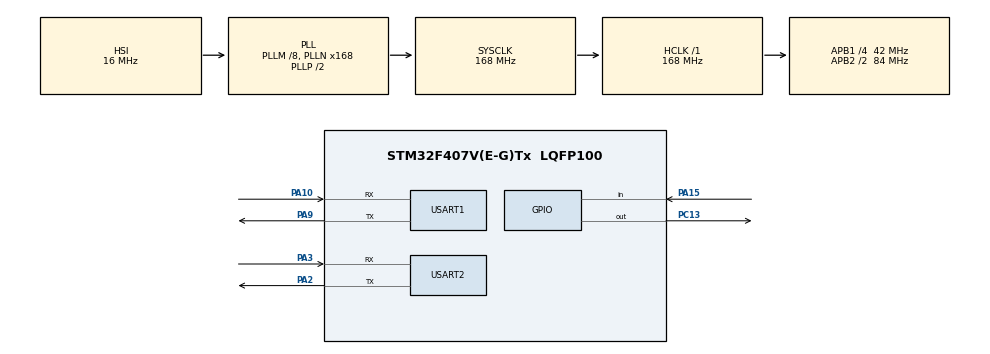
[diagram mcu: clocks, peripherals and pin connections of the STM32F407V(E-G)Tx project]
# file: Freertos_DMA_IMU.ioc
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Dma.Request0=USART1_RX
Dma.Request1=USART1_TX
Dma.Request2=USART2_RX
Dma.USART1_RX.0.Direction=DMA_PERIPH_TO_MEMORY
Dma.USART1_RX.0.FIFOMode=DMA_FIFOMODE_DISABLE
Dma.USART1_RX.0.Instance=DMA2_Stream2
Dma.USART1_RX.0.MemDataAlignment=DMA_MDATAALIGN_BYTE
Dma.USART1_RX.0.MemInc=DMA_MINC_ENABLE
Dma.USART1_RX.0.Mode=DMA_NORMAL
Dma.USART1_RX.0.PeriphDataAlignment=DMA_PDATAALIGN_BYTE
Dma.USART1_RX.0.PeriphInc=DMA_PINC_DISABLE
Dma.USART1_RX.0.Priority=DMA_PRIORITY_MEDIUM
Dma.USART1_TX.1.Direction=DMA_MEMORY_TO_PERIPH
Dma.USART1_TX.1.FIFOMode=DMA_FIFOMODE_DISABLE
Dma.USART1_TX.1.Instance=DMA2_Stream7
Dma.USART1_TX.1.MemDataAlignment=DMA_MDATAALIGN_BYTE
Dma.USART1_TX.1.MemInc=DMA_MINC_ENABLE
Dma.USART1_TX.1.Mode=DMA_NORMAL
Dma.USART1_TX.1.PeriphDataAlignment=DMA_PDATAALIGN_BYTE
Dma.USART1_TX.1.PeriphInc=DMA_PINC_DISABLE
Dma.USART1_TX.1.Priority=DMA_PRIORITY_MEDIUM
Dma.USART2_RX.2.Direction=DMA_PERIPH_TO_MEMORY
Dma.USART2_RX.2.FIFOMode=DMA_FIFOMODE_DISABLE
Dma.USART2_RX.2.Instance=DMA1_Stream5
Dma.USART2_RX.2.MemDataAlignment=DMA_MDATAALIGN_BYTE
Dma.USART2_RX.2.MemInc=DMA_MINC_ENABLE
Dma.USART2_RX.2.Mode=DMA_NORMAL
Dma.USART2_RX.2.PeriphDataAlignment=DMA_PDATAALIGN_BYTE
Dma.USART2_RX.2.PeriphInc=DMA_PINC_DISABLE
Dma.USART2_RX.2.Priority=DMA_PRIORITY_MEDIUM
FREERTOS.Tasks01=defaultTask,-3,128,StartDefaultTask,Default,NULL,Dynamic,NULL,NULL;myTask_key,1,128,key_Task,Default,NULL,Dynamic,NULL,NULL;myTask_led,-3,128,led_Task,Default,NULL,Dynamic,NULL,NULL;myTask_IMU,1,128,IMU_Task,Default,NULL,Dynamic,NULL,NULL;myTask_debug,-2,128,deubg_Task,Default,NULL,Dynamic,NULL,NULL
Mcu.Family=STM32F4
Mcu.Name=STM32F407V(E-G)Tx
Mcu.Package=LQFP100
NVIC.DMA1_Stream5_IRQn=true\:5\:0\:true\:false\:true\:true\:false\:true
NVIC.DMA2_Stream2_IRQn=true\:5\:0\:false\:false\:true\:true\:false\:true
NVIC.DMA2_Stream7_IRQn=true\:5\:0\:false\:false\:true\:true\:false\:true
NVIC.PriorityGroup=NVIC_PRIORITYGROUP_4
NVIC.TIM7_IRQn=true\:0\:0\:false\:false\:true\:false\:false\:true
NVIC.TimeBase=TIM7_IRQn
NVIC.TimeBaseIP=TIM7
NVIC.USART1_IRQn=true\:5\:0\:true\:false\:true\:true\:true\:true
NVIC.USART2_IRQn=true\:5\:0\:true\:false\:true\:true\:true\:true
PA10.Mode=Asynchronous
PA10.Signal=USART1_RX
PA13.Mode=Serial_Wire
PA13.Signal=SYS_JTMS-SWDIO
PA14.Mode=Serial_Wire
PA14.Signal=SYS_JTCK-SWCLK
PA15.GPIO_PuPd=GPIO_PULLUP
PA15.Signal=GPIO_Input
PA2.Mode=Asynchronous
PA2.Signal=USART2_TX
PA3.Mode=Asynchronous
PA3.Signal=USART2_RX
PA9.Mode=Asynchronous
PA9.Signal=USART1_TX
PC13-ANTI_TAMP.GPIO_Speed=GPIO_SPEED_FREQ_LOW
PC13-ANTI_TAMP.Signal=GPIO_Output
PH0-OSC_IN.Mode=HSE-External-Oscillator
PH0-OSC_IN.Signal=RCC_OSC_IN
PH1-OSC_OUT.Mode=HSE-External-Oscillator
PH1-OSC_OUT.Signal=RCC_OSC_OUT
ProjectManager.HeapSize=0x200
ProjectManager.StackSize=0x400
ProjectManager.TargetToolchain=MDK-ARM V5.27
RCC.48MHZClocksFreq_Value=84000000
RCC.AHBFreq_Value=168000000
RCC.APB1CLKDivider=RCC_HCLK_DIV4
RCC.APB1Freq_Value=42000000
RCC.APB1TimFreq_Value=84000000
RCC.APB2CLKDivider=RCC_HCLK_DIV2
RCC.APB2Freq_Value=84000000
RCC.APB2TimFreq_Value=168000000
RCC.CortexFreq_Value=168000000
RCC.HCLKFreq_Value=168000000
RCC.HSE_VALUE=8000000
RCC.HSI_VALUE=16000000
RCC.LSE_VALUE=32768
RCC.PLLM=8
RCC.PLLN=168
RCC.SYSCLKFreq_VALUE=168000000
RCC.SYSCLKSource=RCC_SYSCLKSOURCE_PLLCLK
RCC.VCOOutputFreq_Value=336000000
USART1.VirtualMode=VM_ASYNC
USART2.VirtualMode=VM_ASYNC
VP_FREERTOS_VS_CMSIS_V1.Mode=CMSIS_V1
VP_SYS_VS_tim7.Mode=TIM7
board=custom

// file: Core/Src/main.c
/* USER CODE BEGIN Header */
/**
  ******************************************************************************
  * @file           : main.c
  * @brief          : Main program body
  ******************************************************************************
  * @attention
  *
  * <h2><center>&copy; Copyright (c) 2023 STMicroelectronics.
  * All rights reserved.</center></h2>
  *
  * This software component is licensed by ST under Ultimate Liberty license
  * SLA0044, the "License"; You may not use this file except in compliance with
  * the License. You may obtain a copy of the License at:
  *                             www.st.com/SLA0044
  *
  ******************************************************************************
  */
/* USER CODE END Header */
#include "main.h"
#include "cmsis_os.h"
#include "dma.h"
#include "usart.h"
#include "gpio.h"

/* USER CODE BEGIN Includes */
#include "JY61.h"
/* USER CODE END Includes */

/* USER CODE BEGIN PV */
extern uint8_t IMU_date[100];
/* USER CODE END PV */

void SystemClock_Config(void);
void MX_FREERTOS_Init(void);

int main(void)
{

  /* MCU Configuration--------------------------------------------------------*/

  /* Reset of all peripherals, Initializes the Flash interface and the Systick. */
  HAL_Init();

  /* Configure the system clock */
  SystemClock_Config();

  /* Initialize all configured peripherals */
  MX_GPIO_Init();
  MX_DMA_Init();
  MX_USART1_UART_Init();
  MX_USART2_UART_Init();
  /* USER CODE BEGIN 2 */
    printf("BSP初始化成功!\n\n");
    WitInit(WIT_PROTOCOL_NORMAL, 0x50);
	WitSerialWriteRegister(SensorUartSend);
	WitRegisterCallBack(SensorDataUpdata);
	WitDelayMsRegister(Delayms);
    HAL_UART_Receive_DMA(&huart2,IMU_date,100);

  /* USER CODE END 2 */

  /* Call init function for freertos objects (in freertos.c) */
  MX_FREERTOS_Init();
  /* Start scheduler */
  osKernelStart();

  /* We should never get here as control is now taken by the scheduler */
  /* Infinite loop */
  while (1)
  {

  }
}

void SystemClock_Config(void)
{
  RCC_OscInitTypeDef RCC_OscInitStruct = {0};
  RCC_ClkInitTypeDef RCC_ClkInitStruct = {0};

  /** Configure the main internal regulator output voltage
  */
  __HAL_RCC_PWR_CLK_ENABLE();
  __HAL_PWR_VOLTAGESCALING_CONFIG(PWR_REGULATOR_VOLTAGE_SCALE1);
  /** Initializes the RCC Oscillators according to the specified parameters
  * in the RCC_OscInitTypeDef structure.
  */
  RCC_OscInitStruct.OscillatorType = RCC_OSCILLATORTYPE_HSI;
  RCC_OscInitStruct.HSIState = RCC_HSI_ON;
  RCC_OscInitStruct.HSICalibrationValue = RCC_HSICALIBRATION_DEFAULT;
  RCC_OscInitStruct.PLL.PLLState = RCC_PLL_ON;
  RCC_OscInitStruct.PLL.PLLSource = RCC_PLLSOURCE_HSI;
  RCC_OscInitStruct.PLL.PLLM = 8;
  RCC_OscInitStruct.PLL.PLLN = 168;
  RCC_OscInitStruct.PLL.PLLP = RCC_PLLP_DIV2;
  RCC_OscInitStruct.PLL.PLLQ = 4;
  if (HAL_RCC_OscConfig(&RCC_OscInitStruct) != HAL_OK)
  {
    Error_Handler();
  }
  /** Initializes the CPU, AHB and APB buses clocks
  */
  RCC_ClkInitStruct.ClockType = RCC_CLOCKTYPE_HCLK|RCC_CLOCKTYPE_SYSCLK
                              |RCC_CLOCKTYPE_PCLK1|RCC_CLOCKTYPE_PCLK2;
  RCC_ClkInitStruct.SYSCLKSource = RCC_SYSCLKSOURCE_PLLCLK;
  RCC_ClkInitStruct.AHBCLKDivider = RCC_SYSCLK_DIV1;
  RCC_ClkInitStruct.APB1CLKDivider = RCC_HCLK_DIV4;
  RCC_ClkInitStruct.APB2CLKDivider = RCC_HCLK_DIV2;

  if (HAL_RCC_ClockConfig(&RCC_ClkInitStruct, FLASH_LATENCY_5) != HAL_OK)
  {
    Error_Handler();
  }
}

 /**
  * @brief  Period elapsed callback in non blocking mode
  * @note   This function is called  when TIM7 interrupt took place, inside
  * HAL_TIM_IRQHandler(). It makes a direct call to HAL_IncTick() to increment
  * a global variable "uwTick" used as application time base.
  * @param  htim : TIM handle
  * @retval None
  */
void HAL_TIM_PeriodElapsedCallback(TIM_HandleTypeDef *htim)
{
  if (htim->Instance == TIM7) {
    HAL_IncTick();
  }
}

void Error_Handler(void)
{
  __disable_irq();
  while (1)
  {
  }
}

/************************ (C) COPYRIGHT STMicroelectronics *****END OF FILE****/

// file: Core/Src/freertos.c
/* USER CODE BEGIN Header */
/**
  ******************************************************************************
  * File Name          : freertos.c
  * Description        : Code for freertos applications
  ******************************************************************************
  * @attention
  *
  * <h2><center>&copy; Copyright (c) 2023 STMicroelectronics.
  * All rights reserved.</center></h2>
  *
  * This software component is licensed by ST under Ultimate Liberty license
  * SLA0044, the "License"; You may not use this file except in compliance with
  * the License. You may obtain a copy of the License at:
  *                             www.st.com/SLA0044
  *
  ******************************************************************************
  */
/* USER CODE END Header */

#include "FreeRTOS.h"
#include "task.h"
#include "main.h"
#include "cmsis_os.h"

/* USER CODE BEGIN Includes */
#include "soft_user.h"
#include "string.h"
#include "JY61.h"
/* USER CODE END Includes */

/* USER CODE BEGIN PTD */
typedef struct Car_status
{
    uint16_t Car_speed[4];
    float IMU[3];
    uint16_t ditance_x;
    uint16_t ditance_y;
    uint8_t task;
}Car_status;

char task_test_text[]="简单的测试任务";
/* USER CODE END PTD */

/* USER CODE BEGIN PD */
#define Led_Toggle GPIOC->ODR^=GPIO_PIN_13
#define IMU_speed 80
#define task_test 0X00
/* USER CODE END PD */

/* USER CODE BEGIN PM */
extern UART_HandleTypeDef huart1;
extern UART_HandleTypeDef huart2;

extern char s_cDataUpdate, s_cCmd;

uint8_t OS_status=0;
uint8_t debug_date[400]={0};
uint8_t IMU_date[IMU_speed]={0};

extern int f_sprintf(char *out, const char *format, ...);

Car_status car_status;

/* USER CODE END PM */

/* USER CODE BEGIN Variables */
SemaphoreHandle_t IMUdate_RX_Sem_Handle =NULL;
/* USER CODE END Variables */
osThreadId defaultTaskHandle;
osThreadId myTask_keyHandle;
osThreadId myTask_ledHandle;
osThreadId myTask_IMUHandle;
osThreadId myTask_debugHandle;

void StartDefaultTask(void const * argument);
void key_Task(void const * argument);
void led_Task(void const * argument);
void IMU_Task(void const * argument);
void deubg_Task(void const * argument);

void MX_FREERTOS_Init(void); /* (MISRA C 2004 rule 8.1) */

/* GetIdleTaskMemory prototype (linked to static allocation support) */
void vApplicationGetIdleTaskMemory( StaticTask_t **ppxIdleTaskTCBBuffer, StackType_t **ppxIdleTaskStackBuffer, uint32_t *pulIdleTaskStackSize );

/* USER CODE BEGIN GET_IDLE_TASK_MEMORY */
static StaticTask_t xIdleTaskTCBBuffer;
static StackType_t xIdleStack[configMINIMAL_STACK_SIZE];

void vApplicationGetIdleTaskMemory( StaticTask_t **ppxIdleTaskTCBBuffer, StackType_t **ppxIdleTaskStackBuffer, uint32_t *pulIdleTaskStackSize )
{
  *ppxIdleTaskTCBBuffer = &xIdleTaskTCBBuffer;
  *ppxIdleTaskStackBuffer = &xIdleStack[0];
  *pulIdleTaskStackSize = configMINIMAL_STACK_SIZE;
  /* place for user code */
}
/* USER CODE END GET_IDLE_TASK_MEMORY */

void MX_FREERTOS_Init(void) {

  /* USER CODE BEGIN RTOS_SEMAPHORES */
  /* add semaphores, ... */
    IMUdate_RX_Sem_Handle = xSemaphoreCreateBinary();
  if(NULL != IMUdate_RX_Sem_Handle)
    printf("IMUdate_RX_Sem_Handle二值信号量创建成功!\r\n");
  /* USER CODE END RTOS_SEMAPHORES */

  /* Create the thread(s) */
  /* definition and creation of defaultTask */
  osThreadDef(defaultTask, StartDefaultTask, osPriorityIdle, 0, 128);
  defaultTaskHandle = osThreadCreate(osThread(defaultTask), NULL);

  /* definition and creation of myTask_key */
  osThreadDef(myTask_key, key_Task, osPriorityAboveNormal, 0, 128);
  myTask_keyHandle = osThreadCreate(osThread(myTask_key), NULL);

  /* definition and creation of myTask_led */
  osThreadDef(myTask_led, led_Task, osPriorityIdle, 0, 128);
  myTask_ledHandle = osThreadCreate(osThread(myTask_led), NULL);

  /* definition and creation of myTask_IMU */
  osThreadDef(myTask_IMU, IMU_Task, osPriorityAboveNormal, 0, 128);
  myTask_IMUHandle = osThreadCreate(osThread(myTask_IMU), NULL);

  /* definition and creation of myTask_debug */
  osThreadDef(myTask_debug, deubg_Task, osPriorityLow, 0, 128);
  myTask_debugHandle = osThreadCreate(osThread(myTask_debug), NULL);

  /* USER CODE BEGIN RTOS_THREADS */
  /* add threads, ... */

    OS_status=1;
  /* USER CODE END RTOS_THREADS */

}

void StartDefaultTask(void const * argument)
{
  /* USER CODE BEGIN StartDefaultTask */
  /* Infinite loop */
  for(;;)
  {
      Led_Toggle;
    osDelay(100);
  }
  /* USER CODE END StartDefaultTask */
}

void key_Task(void const * argument)
{
  /* USER CODE BEGIN key_Task */
  /* Infinite loop */
  for(;;)
  {
      if((GPIOA->IDR&(1<<15))==0)
      {
          osDelay(10);
          if((GPIOA->IDR&(1<<15))==0)
          {
              while((GPIOA->IDR&(1<<15))==0);
              /*do something*/
              printf("按键触发\n");

          }
      }
    osDelay(1);
  }
  /* USER CODE END key_Task */
}

void led_Task(void const * argument)
{
  /* USER CODE BEGIN led_Task */
  /* Infinite loop */
  for(;;)
  {
      GPIOC->ODR^=GPIO_PIN_12;
    osDelay(100);
  }
  /* USER CODE END led_Task */
}

void IMU_Task(void const * argument)
{
  /* USER CODE BEGIN IMU_Task */
  /* Infinite loop */
    BaseType_t xReturn = pdPASS;/* 定义一个创建信息返回值，默认为pdPASS */
    int i;
  for(;;)
  {
      //获取二值信号量 xSemaphore,没获取到则一直等待
	xReturn = xSemaphoreTake(IMUdate_RX_Sem_Handle,/* 二值信号量句柄 */
                              portMAX_DELAY); /* 等待时间 */

    for(i=0;i<IMU_speed;i++)
      {
          WitSerialDataIn(IMU_date[i]);
      }
    if(s_cDataUpdate)
		{
			for(i = 0; i < 3; i++)
			{
				car_status.IMU[i] = sReg[Roll+i] / 32768.0f * 180.0f;
			}

		}
    HAL_UART_Receive_DMA(&huart2,IMU_date,IMU_speed);

  }
  /* USER CODE END IMU_Task */
}

/* USER CODE BEGIN Header_deubg_Task */
/**
* @brief 小车状态上传任务，使用串口一DMA发送，运行周期1000ms
* @param argument: Not used
* @retval None
*/
/* USER CODE END Header_deubg_Task */
void deubg_Task(void const * argument)
{
  /* USER CODE BEGIN deubg_Task */
  /* Infinite loop */
  for(;;)
  {
      char task_description[20];

      switch(car_status.task)
      {
          case task_test:
              strcpy(task_description, task_test_text);
          break;
          default:
              /*error*/
          break;
      }

      sprintf((char*)debug_date,"车身位置：X：%dcm  Y:%dcm\n\
                               \n车身状态： Pitch:%.3f   Roll:%.3f    Yaw:%.3f\n\
                               \n四轮转速：\
                               \nMotor1:%d     Motor1:%d \
                               \nMotor3:%d     Motor4:%d\n\
                               \n当前任务: %s\n\n\n",\
                                car_status.ditance_x,car_status.ditance_y,car_status.IMU[0],car_status.IMU[1],car_status.IMU[2],\
                                car_status.Car_speed[0],car_status.Car_speed[1],\
                                car_status.Car_speed[2],car_status.Car_speed[3],task_description);
      HAL_UART_Transmit_DMA(&huart1,debug_date,strlen((char*)debug_date));
      osDelay(1000);
  }
  /* USER CODE END deubg_Task */
}

/* USER CODE BEGIN Application */
//      sprintf((char*)debug_date,"车身位置：X：%dcm  Y:%dcm\n\
//                               \n车身状态： Pitch:%.3f   Roll:%.3f    Yaw:%.3f\n\
//                               \n四轮转速：\
//                               \nMotor1:%d     Motor1:%d \
//                               \nMotor3:%d     Motor4:%d\n\
//                               \n当前任务: %s\n\n\n",\
//                                car_status.ditance_x,car_status.ditance_y,car_status.IMU[0],car_status.IMU[1],car_status.IMU[2],\
//                                car_status.Car_speed[0],car_status.Car_speed[1],car_status.Car_speed[2],car_status.Car_speed[3],task_description);
/* USER CODE END Application */

/************************ (C) COPYRIGHT STMicroelectronics *****END OF FILE****/
